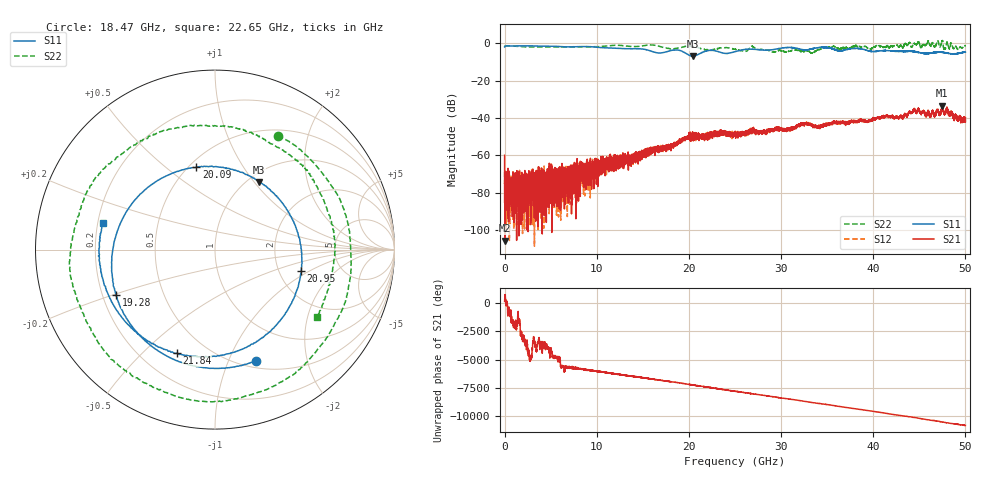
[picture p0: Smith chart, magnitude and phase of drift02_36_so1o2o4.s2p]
!Created with skrf (http://scikit-rf.org).
# Hz S RI R 50.0
!freq ReS11 ImS11 ReS21 ImS21 ReS12 ImS12 ReS22 ImS22
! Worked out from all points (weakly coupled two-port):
!   10001 points, 300 kHz to 50 GHz, reference 50 ohm
!   highest |S21| = -33.41 dB at 47.5 GHz (marker M1); lowest = -105.6 dB at 20.3 MHz (marker M2)
!   lowest |S11| = -6.9 dB at 20.42 GHz (marker M3), VSWR 2.64, Z = 56.1 + j53.1 ohm
!   |S11| at or under -10 dB: nowhere
!   |S22| runs from -5.3 to 1.5 dB; largest |S21 - S12| = 0.0035
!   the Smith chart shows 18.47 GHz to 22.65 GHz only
!   S11 on the Smith chart (normalised r, x): 18.47 GHz: 0.58, -1.26; 19.28 GHz: 0.26, -0.21; 20.09 GHz: 0.54, +0.64; 20.95 GHz: 2.66, -0.82; 21.84 GHz: 0.34, -0.64; 22.65 GHz: 0.22, +0.11
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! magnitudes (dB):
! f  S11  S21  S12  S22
! 300 kHz  -2.1  -59.9  -68.6  -1.3
! 20.3 MHz  -1.9  -105.6  -71.5  -1.3
! 255.3 MHz  -1.4  -77.0  -77.7  -1.4
! 960.3 MHz  -1.5  -81.7  -77.1  -1.5
! 5.44 GHz  -1.6  -77.9  -71.8  -2.0
! 7.075 GHz  -1.9  -72.7  -68.7  -1.9
! 8.335 GHz  -1.7  -66.2  -69.5  -1.9
! 16.67 GHz  -5.2  -55.8  -56.4  -1.5
! 18.47 GHz  -3.6  -54.6  -54.9  -2.8
! 19.28 GHz  -4.3  -52.3  -51.5  -2.1
! 20.09 GHz  -6.5  -50.9  -50.3  -1.5
! 20.42 GHz  -6.9  -48.5  -49.3  -1.8
! 20.95 GHz  -6.1  -49.3  -50.4  -2.2
! 21.84 GHz  -4.2  -49.4  -49.7  -3.5
! 22.65 GHz  -3.8  -48.3  -48.5  -3.4
! 25 GHz  -4.5  -49.2  -48.9  -3.2
! 26.9 GHz  -3.2  -47.0  -45.5  -1.7
! 33.34 GHz  -3.0  -43.9  -44.0  -5.1
! 34.89 GHz  -2.2  -43.8  -43.2  -2.3
! 41.67 GHz  -4.0  -39.3  -39.0  -2.1
! 47.5 GHz  -4.9  -33.4  -34.3  1.0
! 50 GHz  -4.7  -40.9  -40.7  -1.5
